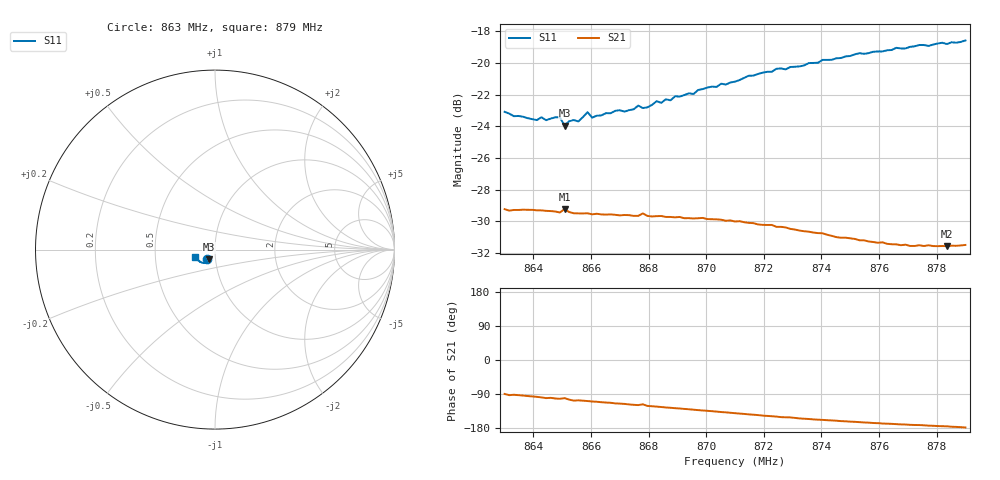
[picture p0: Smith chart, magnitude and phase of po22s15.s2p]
# HZ S RI R 50
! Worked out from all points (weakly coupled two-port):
!   101 points, 863 MHz to 879 MHz, reference 50 ohm
!   highest |S21| = -29.23 dB at 865.08 MHz (marker M1); lowest = -31.6 dB at 878.36 MHz (marker M2)
!   lowest |S11| = -24.0 dB at 865.08 MHz (marker M3), VSWR 1.14, Z = 46.5 - j5.06 ohm
!   |S11| at or under -10 dB: start of sweep to end of sweep
!   S12 and S22 are empty: the file has one direction only
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8.63e8  -0.0449 -0.0538  0.000267 -0.0345  0 0  0 0
8.6412e8  -0.0385 -0.0536  -0.00431 -0.034  0 0  0 0
8.6492e8  -0.0392 -0.0548  -0.00719 -0.0329  0 0  0 0
8.6508e8  -0.0331 -0.0541  -0.00633 -0.034  0 0  0 0
8.6524e8  -0.0355 -0.0551  -0.00847 -0.0327  0 0  0 0
8.6556e8  -0.0339 -0.0559  -0.00947 -0.0321  0 0  0 0
8.6572e8  -0.0355 -0.0574  -0.00999 -0.0319  0 0  0 0
8.6588e8  -0.0387 -0.0583  -0.0105 -0.0318  0 0  0 0
8.6604e8  -0.034 -0.058  -0.0111 -0.0314  0 0  0 0
8.6748e8  -0.0338 -0.0629  -0.0156 -0.0289  0 0  0 0
8.6764e8  -0.0357 -0.0641  -0.0159 -0.0288  0 0  0 0
8.678e8  -0.0323 -0.0644  -0.0152 -0.0298  0 0  0 0
8.6796e8  -0.0349 -0.0635  -0.017 -0.0281  0 0  0 0
8.6828e8  -0.0357 -0.0668  -0.0179 -0.0275  0 0  0 0
8.6844e8  -0.036 -0.0656  -0.0184 -0.0272  0 0  0 0
8.6892e8  -0.0377 -0.0689  -0.0197 -0.0259  0 0  0 0
8.71e8  -0.0477 -0.0732  -0.0243 -0.0202  0 0  0 0
8.7244e8  -0.0599 -0.075  -0.0261 -0.0155  0 0  0 0
8.7372e8  -0.0679 -0.0735  -0.0267 -0.0115  0 0  0 0
8.7644e8  -0.0912 -0.0615  -0.0262 -0.00533  0 0  0 0
8.7836e8  -0.1055 -0.0455  -0.0263 -0.00229  0 0  0 0
8.79e8  -0.1113 -0.0387  -0.0266 -0.000935  0 0  0 0
